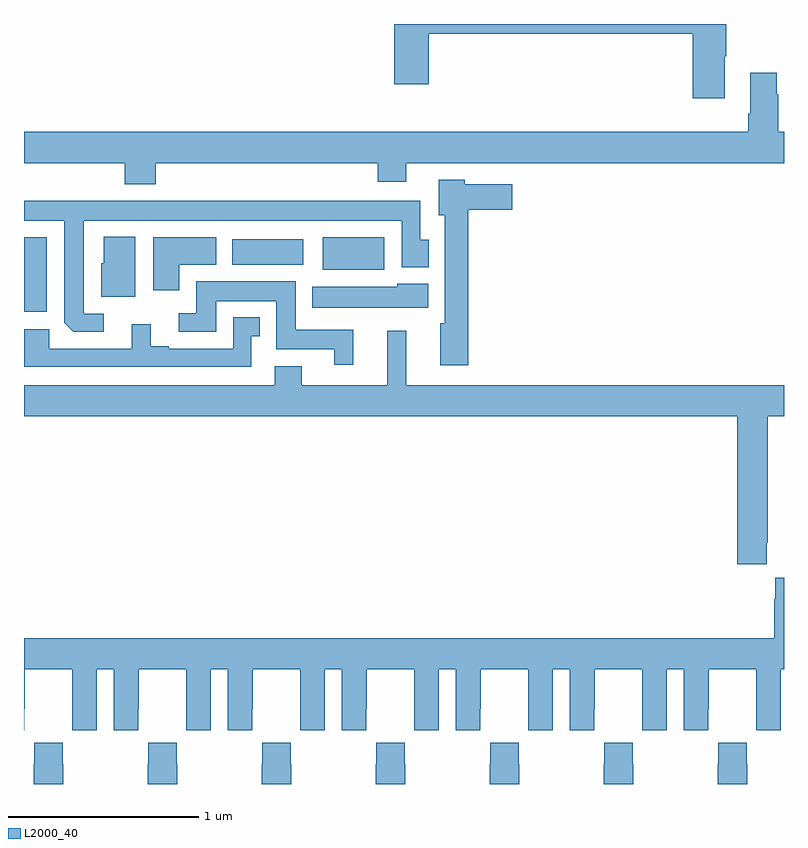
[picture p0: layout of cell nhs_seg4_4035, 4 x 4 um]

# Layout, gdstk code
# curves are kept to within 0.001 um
import gdstk
lib = gdstk.Library(unit=1e-6, precision=1e-09)
def R(c, l, rs):  # rectangles x0, y0, x1, y1
    for r in rs: c.add(gdstk.rectangle(r[:2], r[2:], *l))
def P(c, l, *ps):  # polygons
    for p in ps: c.add(gdstk.Polygon(p, *l))
L2000_40 = (2000, 40)

nhs_seg4_4035 = lib.new_cell('nhs_seg4_4035')
R(nhs_seg4_4035, L2000_40, [(325,781.385,325.12,781.777), (326.573,781.607,326.896,781.777), (326.096,781.634,326.47,781.768)])
P(nhs_seg4_4035, L2000_40, [(328.687,782.731),(328.695,782.731),(328.695,782.9),(326.948,782.9),(326.948,782.583),(327.131,782.583),(327.131,782.848),(328.52,782.848),(328.52,782.508),(328.687,782.508)],
  [(325.694,782.168),(326.861,782.168),(326.861,782.069),(327.013,782.069),(327.013,782.168),(329,782.168),(329,782.332),(328.971,782.332),(328.971,782.531),(328.963,782.531),(328.963,782.644),(328.823,782.644),(328.823,782.428),(328.811,782.428),(328.811,782.332),(325,782.332),(325,782.168),(325.529,782.168),(325.529,782.057),(325.694,782.057)],
  [(327.338,781.922),(327.571,781.922),(327.571,782.056),(327.321,782.056),(327.321,782.08),(327.182,782.08),(327.182,781.893),(327.215,781.893),(327.215,781.326),(327.191,781.326),(327.191,781.104),(327.338,781.104)],
  [(325.42,781.374),(325.315,781.374),(325.315,781.865),(326.988,781.865),(326.988,781.62),(327.13,781.62),(327.13,781.764),(327.085,781.764),(327.085,781.969),(325,781.969),(325,781.865),(325.211,781.865),(325.212,781.327),(325.258,781.281),(325.42,781.281)],
  [(325.585,781.78),(325.421,781.78),(325.421,781.641),(325.406,781.641),(325.406,781.464),(325.585,781.464)],
  [(325.816,781.634),(326.011,781.634),(326.011,781.777),(325.679,781.777),(325.679,781.5),(325.816,781.5)],
  [(326.732,781.291),(326.431,781.291),(326.431,781.546),(325.907,781.546),(325.907,781.377),(325.815,781.377),(325.815,781.281),(326.011,781.281),(326.011,781.442),(326.327,781.442),(326.327,781.187),(326.633,781.187),(326.633,781.107),(326.732,781.107)],
  [(327.127,781.534),(326.964,781.534),(326.964,781.516),(326.516,781.516),(326.516,781.406),(327.127,781.406)],
  [(326.196,781.257),(326.242,781.257),(326.242,781.357),(326.1,781.357),(326.1,781.191),(325.762,781.191),(325.762,781.204),(325.666,781.204),(325.666,781.321),(325.568,781.321),(325.568,781.191),(325.134,781.191),(325.134,781.294),(325,781.294),(325,781.095),(326.196,781.095)],
  [(328.909,780.169),(328.914,780.169),(328.914,780.836),(329,780.836),(329,781),(327.011,781),(327.011,781.285),(326.912,781.285),(326.912,781),(326.461,781),(326.461,781.099),(326.321,781.099),(326.321,781),(325,781),(325,780.836),(328.754,780.836),(328.754,780.057),(328.909,780.057)],
  [(325,779.184),(325.002,779.184),(325.002,779.296),(325.003,779.296),(325.003,779.504),(325.253,779.504),(325.253,779.296),(325.254,779.296),(325.254,779.184),(325.384,779.184),(325.384,779.504),(325.472,779.504),(325.472,779.184),(325.602,779.184),(325.602,779.296),(325.603,779.296),(325.603,779.504),(325.853,779.504),(325.853,779.296),(325.854,779.296),(325.854,779.184),(325.984,779.184),(325.984,779.504),(326.072,779.504),(326.072,779.184),(326.202,779.184),(326.202,779.296),(326.203,779.296),(326.203,779.504),(326.453,779.504),(326.453,779.296),(326.454,779.296),(326.454,779.184),(326.584,779.184),(326.584,779.504),(326.672,779.504),(326.672,779.184),(326.802,779.184),(326.802,779.296),(326.803,779.296),(326.803,779.504),(327.053,779.504),(327.053,779.296),(327.054,779.296),(327.054,779.184),(327.184,779.184),(327.184,779.504),(327.272,779.504),(327.272,779.184),(327.402,779.184),(327.402,779.296),(327.403,779.296),(327.403,779.504),(327.653,779.504),(327.653,779.296),(327.654,779.296),(327.654,779.184),(327.784,779.184),(327.784,779.504),(327.872,779.504),(327.872,779.184),(328.002,779.184),(328.002,779.296),(328.003,779.296),(328.003,779.504),(328.253,779.504),(328.253,779.296),(328.254,779.296),(328.254,779.184),(328.384,779.184),(328.384,779.504),(328.472,779.504),(328.472,779.184),(328.602,779.184),(328.602,779.296),(328.603,779.296),(328.603,779.504),(328.853,779.504),(328.853,779.296),(328.854,779.296),(328.854,779.184),(328.984,779.184),(328.984,779.504),(329,779.504),(329,779.986),(328.955,779.986),(328.955,779.873),(328.949,779.873),(328.949,779.668),(325,779.668)],
  [(327.006,779.003),(327.003,779.003),(327.003,779.116),(326.853,779.116),(326.853,779.003),(326.851,779.003),(326.851,778.9),(327.006,778.9)],
  [(325.806,779.003),(325.803,779.003),(325.803,779.116),(325.653,779.116),(325.653,779.003),(325.651,779.003),(325.651,778.9),(325.806,778.9)],
  [(325.206,779.003),(325.203,779.003),(325.203,779.116),(325.053,779.116),(325.053,779.003),(325.051,779.003),(325.051,778.9),(325.206,778.9)],
  [(326.406,779.003),(326.403,779.003),(326.403,779.116),(326.253,779.116),(326.253,779.003),(326.251,779.003),(326.251,778.9),(326.406,778.9)],
  [(328.806,779.003),(328.803,779.003),(328.803,779.116),(328.653,779.116),(328.653,779.003),(328.651,779.003),(328.651,778.9),(328.806,778.9)],
  [(328.206,779.003),(328.203,779.003),(328.203,779.116),(328.053,779.116),(328.053,779.003),(328.051,779.003),(328.051,778.9),(328.206,778.9)],
  [(327.606,779.003),(327.603,779.003),(327.603,779.116),(327.453,779.116),(327.453,779.003),(327.451,779.003),(327.451,778.9),(327.606,778.9)])

lib.write_gds('nhs_seg4_4035.gds')
